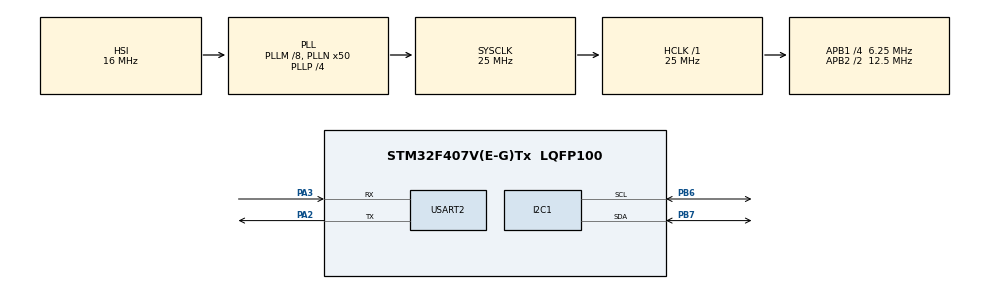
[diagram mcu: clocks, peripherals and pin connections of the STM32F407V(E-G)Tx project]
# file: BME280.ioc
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Mcu.Family=STM32F4
Mcu.Name=STM32F407V(E-G)Tx
Mcu.Package=LQFP100
NVIC.PriorityGroup=NVIC_PRIORITYGROUP_0
PA2.Mode=Asynchronous
PA2.Signal=USART2_TX
PA3.Mode=Asynchronous
PA3.Signal=USART2_RX
PB6.Mode=I2C
PB6.Signal=I2C1_SCL
PB7.Mode=I2C
PB7.Signal=I2C1_SDA
ProjectManager.HeapSize=0x200
ProjectManager.StackSize=0x400
ProjectManager.TargetToolchain=STM32CubeIDE
RCC.48MHZClocksFreq_Value=14285714.285714285
RCC.AHBFreq_Value=25000000
RCC.APB1CLKDivider=RCC_HCLK_DIV4
RCC.APB1Freq_Value=6250000
RCC.APB1TimFreq_Value=12500000
RCC.APB2CLKDivider=RCC_HCLK_DIV2
RCC.APB2Freq_Value=12500000
RCC.APB2TimFreq_Value=25000000
RCC.CortexFreq_Value=25000000
RCC.HCLKFreq_Value=25000000
RCC.HSE_VALUE=8000000
RCC.HSI_VALUE=16000000
RCC.LSE_VALUE=32768
RCC.PLLM=8
RCC.PLLN=50
RCC.PLLP=RCC_PLLP_DIV4
RCC.PLLQ=7
RCC.SYSCLKFreq_VALUE=25000000
RCC.SYSCLKSource=RCC_SYSCLKSOURCE_PLLCLK
RCC.VCOOutputFreq_Value=100000000
USART2.VirtualMode=VM_ASYNC
board=STM32F407G-DISC1

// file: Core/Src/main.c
/* USER CODE BEGIN Header */
/**
  ******************************************************************************
  * @file           : main.c
  * @brief          : Main program body
  ******************************************************************************
  * @attention
  *
  * Copyright (c) 2026 STMicroelectronics.
  * All rights reserved.
  *
  * This software is licensed under terms that can be found in the LICENSE file
  * in the root directory of this software component.
  * If no LICENSE file comes with this software, it is provided AS-IS.
  *
  ******************************************************************************
  */
/* USER CODE END Header */
#include "main.h"

/* USER CODE BEGIN Includes */
#include<stdio.h>
#include<string.h>
/* USER CODE END Includes */

/* USER CODE BEGIN PD */
#define SENSOR_ADDR (0x76 << 1)
/* USER CODE END PD */

I2C_HandleTypeDef hi2c1;

UART_HandleTypeDef huart2;

/* USER CODE BEGIN PV */

static uint16_t dig_T1, dig_P1;
static int16_t  dig_T2, dig_T3, dig_P2, dig_P3, dig_P4, dig_P5, dig_P6, dig_P7, dig_P8, dig_P9;
static uint8_t  dig_H1, dig_H3;
static int16_t  dig_H2, dig_H4, dig_H5;
static int8_t   dig_H6;
static int32_t  t_fine;

/* USER CODE END PV */

void SystemClock_Config(void);
static void MX_GPIO_Init(void);
static void MX_I2C1_Init(void);
static void MX_USART2_UART_Init(void);

/* USER CODE BEGIN 0 */

void BME280_ReadCalibration(void)
{
    uint8_t c1[26];
    HAL_I2C_Mem_Read(&hi2c1, SENSOR_ADDR, 0x88, I2C_MEMADD_SIZE_8BIT, c1, 26, 100);

    dig_T1 = (uint16_t)(c1[1] << 8 | c1[0]);
    dig_T2 = (int16_t)(c1[3] << 8 | c1[2]);
    dig_T3 = (int16_t)(c1[5] << 8 | c1[4]);
    dig_P1 = (uint16_t)(c1[7] << 8 | c1[6]);
    dig_P2 = (int16_t)(c1[9] << 8 | c1[8]);
    dig_P3 = (int16_t)(c1[11] << 8 | c1[10]);
    dig_P4 = (int16_t)(c1[13] << 8 | c1[12]);
    dig_P5 = (int16_t)(c1[15] << 8 | c1[14]);
    dig_P6 = (int16_t)(c1[17] << 8 | c1[16]);
    dig_P7 = (int16_t)(c1[19] << 8 | c1[18]);
    dig_P8 = (int16_t)(c1[21] << 8 | c1[20]);
    dig_P9 = (int16_t)(c1[23] << 8 | c1[22]);
    dig_H1 = c1[25];

    uint8_t c2[7];
    HAL_I2C_Mem_Read(&hi2c1, SENSOR_ADDR, 0xE1, I2C_MEMADD_SIZE_8BIT, c2, 7, 100);

    dig_H2 = (int16_t)(c2[1] << 8 | c2[0]);
    dig_H3 = c2[2];
    dig_H4 = (int16_t)(((int8_t)c2[3] << 4) | (c2[4] & 0x0F));
    dig_H5 = (int16_t)(((int8_t)c2[5] << 4) | (c2[4] >> 4));
    dig_H6 = (int8_t)c2[6];
}

void BME280_Init(void)
{
    uint8_t ctrl_hum  = 0x01;   // humidity oversampling x1
    uint8_t config_reg = 0x00;  // filter off, standby time minimal
    uint8_t ctrl_meas = 0x27;   // temp x1, pressure x1, normal mode

    HAL_I2C_Mem_Write(&hi2c1, SENSOR_ADDR, 0xF2, I2C_MEMADD_SIZE_8BIT, &ctrl_hum, 1, 100);
    HAL_I2C_Mem_Write(&hi2c1, SENSOR_ADDR, 0xF5, I2C_MEMADD_SIZE_8BIT, &config_reg, 1, 100);
    HAL_I2C_Mem_Write(&hi2c1, SENSOR_ADDR, 0xF4, I2C_MEMADD_SIZE_8BIT, &ctrl_meas, 1, 100);

    HAL_Delay(100); // let the first measurement complete
}

float BME280_CompensateTemperature(int32_t adc_T)
{
    float var1, var2, T;
    var1 = ((float)adc_T / 16384.0f) - ((float)dig_T1 / 1024.0f);
    var2 = var1 * (float)dig_T2;
    var1 = (((float)adc_T / 131072.0f) - ((float)dig_T1 / 8192.0f)) *
           (((float)adc_T / 131072.0f) - ((float)dig_T1 / 8192.0f));
    var1 = var1 * (float)dig_T3;
    t_fine = (int32_t)(var2 + var1);
    T = (var2 + var1) / 5120.0f;
    return T; // degrees Celsius
}

float BME280_CompensatePressure(int32_t adc_P)
{
    float var1, var2, P;
    var1 = ((float)t_fine / 2.0f) - 64000.0f;
    var2 = var1 * var1 * (float)dig_P6 / 32768.0f;
    var2 = var2 + var1 * (float)dig_P5 * 2.0f;
    var2 = (var2 / 4.0f) + ((float)dig_P4 * 65536.0f);
    var1 = ((float)dig_P3 * var1 * var1 / 524288.0f + (float)dig_P2 * var1) / 524288.0f;
    var1 = (1.0f + var1 / 32768.0f) * (float)dig_P1;
    if (var1 == 0.0f) return 0;
    P = 1048576.0f - (float)adc_P;
    P = (P - (var2 / 4096.0f)) * 6250.0f / var1;
    var1 = (float)dig_P9 * P * P / 2147483648.0f;
    var2 = P * (float)dig_P8 / 32768.0f;
    P = P + (var1 + var2 + (float)dig_P7) / 16.0f;
    return P / 100.0f; // hPa
}

float BME280_CompensateHumidity(int32_t adc_H)
{
    float var_H;
    var_H = ((float)t_fine - 76800.0f);
    var_H = (adc_H - ((float)dig_H4 * 64.0f + ((float)dig_H5 / 16384.0f) * var_H)) *
            ((float)dig_H2 / 65536.0f * (1.0f + (float)dig_H6 / 67108864.0f * var_H *
            (1.0f + (float)dig_H3 / 67108864.0f * var_H)));
    var_H = var_H * (1.0f - (float)dig_H1 * var_H / 524288.0f);
    if (var_H > 100.0f) var_H = 100.0f;
    else if (var_H < 0.0f) var_H = 0.0f;
    return var_H; // %RH
}

/* USER CODE END 0 */

int main(void)
{

  /* MCU Configuration--------------------------------------------------------*/

  /* Reset of all peripherals, Initializes the Flash interface and the Systick. */
  HAL_Init();

  /* Configure the system clock */
  SystemClock_Config();

  /* Initialize all configured peripherals */
  MX_GPIO_Init();
  MX_I2C1_Init();
  MX_USART2_UART_Init();
  /* USER CODE BEGIN 2 */
  BME280_ReadCalibration();
  BME280_Init();
  /* USER CODE END 2 */

  /* Infinite loop */
  while (1)
  {
	  uint8_t raw[8];
	  HAL_I2C_Mem_Read(&hi2c1, SENSOR_ADDR, 0xF7, I2C_MEMADD_SIZE_8BIT, raw, 8, 100);

	  int32_t adc_P = (int32_t)((raw[0] << 12) | (raw[1] << 4) | (raw[2] >> 4));
	  int32_t adc_T = (int32_t)((raw[3] << 12) | (raw[4] << 4) | (raw[5] >> 4));
	  int32_t adc_H = (int32_t)((raw[6] << 8)  |  raw[7]);

	  float temperature = BME280_CompensateTemperature(adc_T);
	  float pressure    = BME280_CompensatePressure(adc_P);
	  float humidity     = BME280_CompensateHumidity(adc_H);

	  char msg[100];
	  sprintf(msg, "Temp: %.2f C | Pressure: %.2f hPa | Humidity: %.2f %%\r\n",temperature, pressure, humidity);
	  HAL_UART_Transmit(&huart2, (uint8_t *)msg, strlen(msg), 100);

	  HAL_Delay(1000);
  }
}

void SystemClock_Config(void)
{
  RCC_OscInitTypeDef RCC_OscInitStruct = {0};
  RCC_ClkInitTypeDef RCC_ClkInitStruct = {0};

  /** Configure the main internal regulator output voltage
  */
  __HAL_RCC_PWR_CLK_ENABLE();
  __HAL_PWR_VOLTAGESCALING_CONFIG(PWR_REGULATOR_VOLTAGE_SCALE1);

  /** Initializes the RCC Oscillators according to the specified parameters
  * in the RCC_OscInitTypeDef structure.
  */
  RCC_OscInitStruct.OscillatorType = RCC_OSCILLATORTYPE_HSI;
  RCC_OscInitStruct.HSIState = RCC_HSI_ON;
  RCC_OscInitStruct.HSICalibrationValue = RCC_HSICALIBRATION_DEFAULT;
  RCC_OscInitStruct.PLL.PLLState = RCC_PLL_ON;
  RCC_OscInitStruct.PLL.PLLSource = RCC_PLLSOURCE_HSI;
  RCC_OscInitStruct.PLL.PLLM = 8;
  RCC_OscInitStruct.PLL.PLLN = 50;
  RCC_OscInitStruct.PLL.PLLP = RCC_PLLP_DIV4;
  RCC_OscInitStruct.PLL.PLLQ = 7;
  if (HAL_RCC_OscConfig(&RCC_OscInitStruct) != HAL_OK)
  {
    Error_Handler();
  }

  /** Initializes the CPU, AHB and APB buses clocks
  */
  RCC_ClkInitStruct.ClockType = RCC_CLOCKTYPE_HCLK|RCC_CLOCKTYPE_SYSCLK
                              |RCC_CLOCKTYPE_PCLK1|RCC_CLOCKTYPE_PCLK2;
  RCC_ClkInitStruct.SYSCLKSource = RCC_SYSCLKSOURCE_PLLCLK;
  RCC_ClkInitStruct.AHBCLKDivider = RCC_SYSCLK_DIV1;
  RCC_ClkInitStruct.APB1CLKDivider = RCC_HCLK_DIV4;
  RCC_ClkInitStruct.APB2CLKDivider = RCC_HCLK_DIV2;

  if (HAL_RCC_ClockConfig(&RCC_ClkInitStruct, FLASH_LATENCY_0) != HAL_OK)
  {
    Error_Handler();
  }
}

static void MX_I2C1_Init(void)
{

  hi2c1.Instance = I2C1;
  hi2c1.Init.ClockSpeed = 100000;
  hi2c1.Init.DutyCycle = I2C_DUTYCYCLE_2;
  hi2c1.Init.OwnAddress1 = 0;
  hi2c1.Init.AddressingMode = I2C_ADDRESSINGMODE_7BIT;
  hi2c1.Init.DualAddressMode = I2C_DUALADDRESS_DISABLE;
  hi2c1.Init.OwnAddress2 = 0;
  hi2c1.Init.GeneralCallMode = I2C_GENERALCALL_DISABLE;
  hi2c1.Init.NoStretchMode = I2C_NOSTRETCH_DISABLE;
  if (HAL_I2C_Init(&hi2c1) != HAL_OK)
  {
    Error_Handler();
  }

}

static void MX_USART2_UART_Init(void)
{

  huart2.Instance = USART2;
  huart2.Init.BaudRate = 115200;
  huart2.Init.WordLength = UART_WORDLENGTH_8B;
  huart2.Init.StopBits = UART_STOPBITS_1;
  huart2.Init.Parity = UART_PARITY_NONE;
  huart2.Init.Mode = UART_MODE_TX_RX;
  huart2.Init.HwFlowCtl = UART_HWCONTROL_NONE;
  huart2.Init.OverSampling = UART_OVERSAMPLING_16;
  if (HAL_UART_Init(&huart2) != HAL_OK)
  {
    Error_Handler();
  }

}

static void MX_GPIO_Init(void)
{

  /* GPIO Ports Clock Enable */
  __HAL_RCC_GPIOA_CLK_ENABLE();
  __HAL_RCC_GPIOB_CLK_ENABLE();

}

void Error_Handler(void)
{
  __disable_irq();
  while (1)
  {
  }
}
